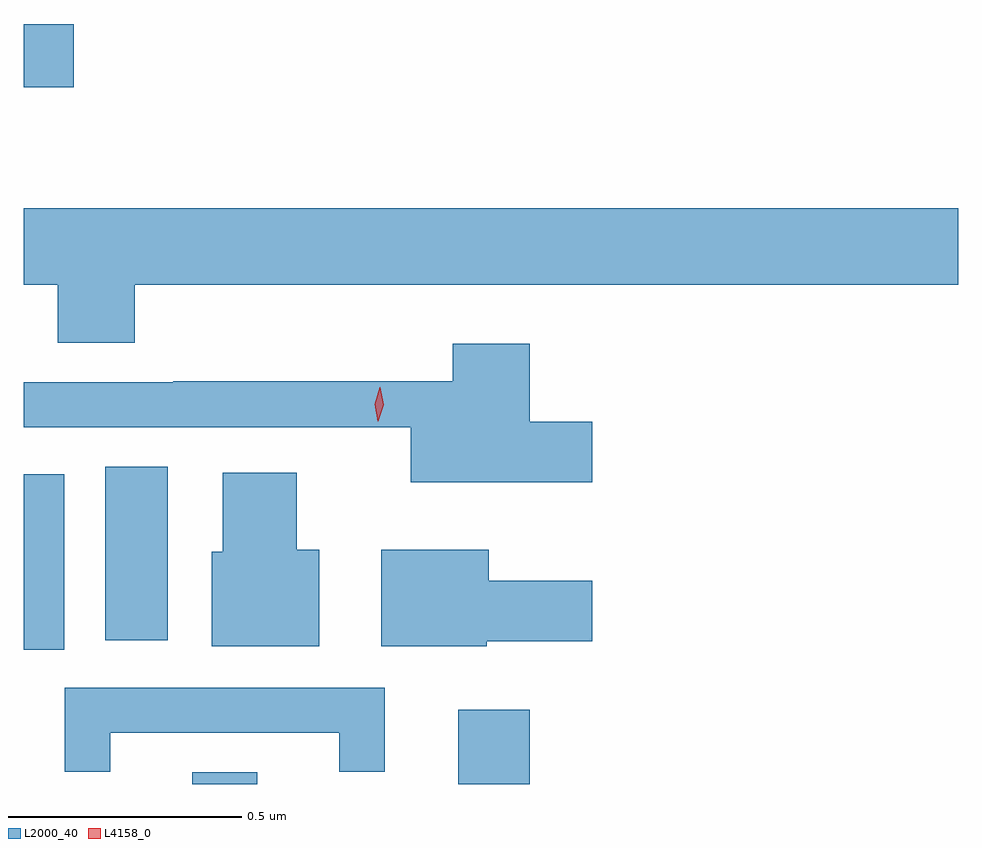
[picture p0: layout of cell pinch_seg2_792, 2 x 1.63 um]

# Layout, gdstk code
import gdstk
lib = gdstk.Library(unit=1e-6, precision=1e-09)
def R(c, l, rs):  # rectangles x0, y0, x1, y1
    for r in rs: c.add(gdstk.rectangle(r[:2], r[2:], *l))
def P(c, l, *ps):  # polygons
    for p in ps: c.add(gdstk.Polygon(p, *l))
L2000_40 = (2000, 40)
L4158_0 = (4158, 0)

pinch_seg2_792 = lib.new_cell('pinch_seg2_792')
R(pinch_seg2_792, L2000_40, [(666.818,662.551,666.958,662.576), (667.388,662.551,667.541,662.71), (666.458,662.838,666.544,663.214), (666.632,662.859,666.766,663.23), (666.458,664.043,666.565,664.178)])
P(pinch_seg2_792, L2000_40, [(666.695,663.62),(668.458,663.62),(668.458,663.784),(666.458,663.784),(666.458,663.62),(666.53,663.62),(666.53,663.496),(666.695,663.496)],
  [(667.675,663.327),(667.541,663.327),(667.541,663.493),(667.376,663.493),(667.376,663.413),(666.778,663.413),(666.778,663.411),(666.458,663.411),(666.458,663.315),(667.286,663.315),(667.286,663.197),(667.675,663.197)],
  [(667.09,663.052),(667.042,663.052),(667.042,663.217),(666.884,663.217),(666.884,663.048),(666.86,663.048),(666.86,662.846),(667.09,662.846)],
  [(667.449,662.857),(667.675,662.857),(667.675,662.986),(667.453,662.986),(667.453,663.052),(667.223,663.052),(667.223,662.846),(667.449,662.846)],
  [(666.643,662.661),(667.133,662.661),(667.133,662.577),(667.231,662.577),(667.231,662.757),(666.545,662.757),(666.545,662.577),(666.643,662.577)])
P(pinch_seg2_792, L4158_0, [(667.216,663.328),(667.216,663.328),(667.209,663.364),(667.22,663.4),(667.221,663.4),(667.221,663.4),(667.228,663.363),(667.217,663.328)])

lib.write_gds('pinch_seg2_792.gds')
